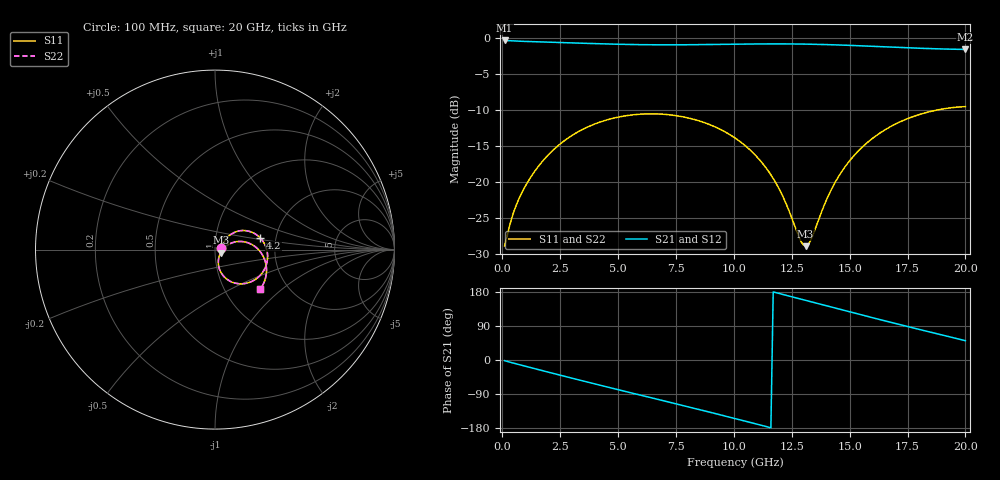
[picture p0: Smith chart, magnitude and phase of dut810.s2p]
! Touchstone file exported from HFSS 2026.1.0
!  File:  C:/ffzhzh/LocalFiles/Ansys_Project_Files/temp_train_TSV_RDL_810_1783264047_5512.aedt
!  Generated:  11:17:51 PM Jul  5, 2026
!  Design:  TSV_RDL
!  Project:  temp_train_TSV_RDL_810_1783264047_5512
! Variables:
!  h_bsmrdl = 3.94um
!  h_ox = 20um
!  h_rdl = 5um
!  h_sub = 76.41um
!  h_tmrdl = 2.8um
!  h_tsv = 76.41um
!  h_via = 3um
!  l_bsmrdl = 458.41um
!  l_sub = 5069.78um
!  l_tmrdl = 791.32um
!  m_sub = 200um
!  pitch = 33.01um
!  r_tsv = 2.2um
!  s_tmrdl = 10um
!  w_bsmrdl = 14.73um
!  w_sub = 500um
!  w_tmrdl = 28.36um
!  x_tsv_center1 = 805.5um
!  x_tsv_center2 = 1278.64um
!  x_tsv_center3 = 2098.32um
!  x_tsv_center4 = 2571.46um
!  x_tsv_center5 = 3391.14um
!  x_tsv_center6 = 3864.28um
# GHz S MA R 50.000000
! Terminal data exported
! Port[1] = TM_RDL1_1_T1
! Port[2] = TM_RDL5_1_T1
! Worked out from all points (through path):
!   200 points, 100 MHz to 20 GHz, reference 50 ohm
!   highest |S21| = -0.30 dB at 100 MHz (marker M1); lowest = -1.6 dB at 20 GHz (marker M2)
!   group delay of S21, straight-line fit = 42.9 ps
!   lowest |S11| = -28.9 dB at 13.1 GHz (marker M3), VSWR 1.07, Z = 53.2 - j1.78 ohm
!   |S11| at or under -10 dB: start of sweep to 18.75 GHz
!   |S22| runs from -28.9 to -9.5 dB; largest |S21 - S12| = 3.6e-14
!   S11 on the Smith chart (normalised r, x): 100 MHz: 1.07, +0.02; 4.2 GHz: 1.66, +0.23; 20 GHz: 1.46, -0.73
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0.1  0.03599 15.9  0.9657 -1.8  0.9657 -1.8  0.03599 15.9
! Gamma 0 0 0 0
! Port Impedance 50 0 50 0
0.6  0.06885 41.5  0.9557 -10.1  0.9557 -10.1  0.06885 41.5
1.3  0.1125 44.3  0.9479 -21.2  0.9479 -21.2  0.1125 44.3
2.3  0.1728 37.3  0.9373 -37.0  0.9373 -37.0  0.1728 37.3
3.5  0.2336 23.4  0.9234 -55.6  0.9234 -55.6  0.2336 23.4
4.2  0.2606 14.4  0.9159 -66.2  0.9159 -66.2  0.2606 14.4
5.5  0.2916 -2.9  0.9052 -85.8  0.9052 -85.8  0.2916 -2.9
6.8  0.2972 -20.4  0.9005 -105.2  0.9005 -105.2  0.2972 -20.3
8.4  0.2693 -41.8  0.9027 -129.2  0.9027 -129.2  0.2693 -41.7
10.1  0.2 -63.4  0.91 -155.3  0.91 -155.3  0.2 -63.3
10.9  0.1555 -72.1  0.9129 -167.8  0.9129 -167.8  0.1555 -72.0
11.6  0.1122 -77.2  0.9141 -178.8  0.9141 -178.8  0.1123 -77.0
12.2  0.07416 -75.9  0.9138 171.6  0.9138 171.6  0.07428 -75.6
12.9  0.0386 -47.2  0.9116 160.4  0.9116 160.4  0.0389 -47.0
13.1  0.03579 -27.9  0.9106 157.2  0.9106 157.2  0.03613 -27.8
13.4  0.04212 -0.8  0.9087 152.4  0.9087 152.4  0.04243 -1.1
14.1  0.08146 20.9  0.9029 141.3  0.9029 141.3  0.08166 20.6
14.8  0.1275 20.3  0.8952 130.2  0.8952 130.2  0.1276 20.1
15.7  0.1843 12.3  0.8836 116.0  0.8836 116.0  0.1844 12.2
16.7  0.2395 0.7  0.8696 100.6  0.8696 100.6  0.2396 0.6
18.3  0.3041 -19.6  0.8493 76.3  0.8493 76.3  0.3042 -19.7
20  0.3347 -41.4  0.8361 51.0  0.8361 51.0  0.3348 -41.5
